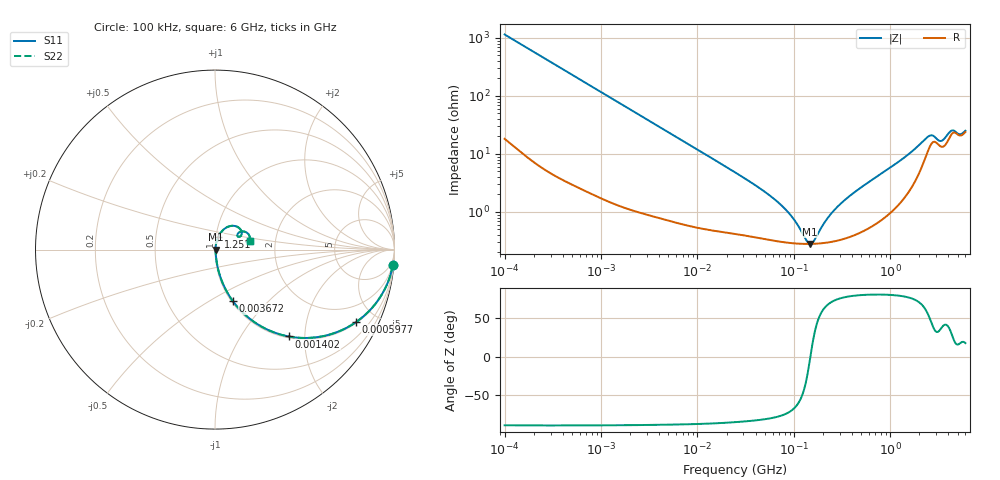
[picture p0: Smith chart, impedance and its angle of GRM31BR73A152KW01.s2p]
!Murata Part Number: GRM31BR73A152KW01
!These Parameters are Measured in Series Mode Connection
!Data Generated on Mar 30, 2021
!  o--ll--o
!Port1  Port2
!  o------o
!Operation Temp=25[degC], DC Bias Voltage=0[V]
!Freq. Start=100[kHz] Stop=6[GHz] 401[Steps]
# Hz S RI R 50
!Freq.(Hz) S11(Real) S11(Imag) S21(Real) S21(Imag) S12(Real) S12(Imag) S22(Real) S22(Imag)
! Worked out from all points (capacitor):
!   401 points, 100 kHz to 6 GHz, reference 50 ohm
!   read as one part in series: C = 1.38 nF near 105.7 kHz
!   lowest |Z| = 281 mohm at 146.4 MHz (marker M1)
!   series resonance near 148.2 MHz, so ESL is about 830 pH
!   S11 on the Smith chart (normalised r, x): 100 kHz: 1, -23; 597.7 kHz: 1.05, -3.88; 1.402 MHz: 1.03, -1.66; 3.672 MHz: 1.02, -0.64; 1.251 GHz: 1.03, +0.15; 6 GHz: 1.48, +0.15
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100000  0.9911 -0.0863  0.00889 0.0863  0.00889 0.0863  0.9911 -0.0863
292328  0.9373 -0.2364  0.0627 0.2364  0.0627 0.2364  0.9373 -0.2364
597654  0.7872 -0.4027  0.2128 0.4027  0.2128 0.4027  0.7872 -0.4027
631452  0.7686 -0.4151  0.2314 0.4151  0.2314 0.4151  0.7686 -0.4151
1402027  0.4107 -0.4839  0.5893 0.4839  0.5893 0.4839  0.4107 -0.4839
3671508  0.0989 -0.2861  0.9011 0.2861  0.9011 0.2861  0.0989 -0.2861
3987316  0.0861 -0.2675  0.9139 0.2675  0.9139 0.2675  0.0861 -0.2675
9100013  0.0218 -0.1266  0.9782 0.1266  0.9782 0.1266  0.0218 -0.1266
2.517799e7  0.00626 -0.0461  0.9937 0.0461  0.9937 0.0461  0.00626 -0.0461
7.565474e7  0.00316 -0.0121  0.9968 0.0121  0.9968 0.0121  0.00316 -0.0121
9.960701e7  0.00291 -0.00688  0.9971 0.00688  0.9971 0.00688  0.00291 -0.00688
1.463946e8  0.0028 -0.000201  0.9972 0.000201  0.9972 0.000201  0.0028 -0.000201
1.546735e8  0.0028 0.000733  0.9972 -0.000733  0.9972 -0.000733  0.0028 0.000733
2.211596e8  0.003 0.00699  0.997 -0.00699  0.997 -0.00699  0.003 0.00699
2.911787e8  0.00337 0.0124  0.9966 -0.0124  0.9966 -0.0124  0.00337 0.0124
9.76689e8  0.0122 0.0548  0.9878 -0.0548  0.9878 -0.0548  0.0122 0.0548
1.251021e9  0.019 0.072  0.981 -0.072  0.981 -0.072  0.019 0.072
2.488279e9  0.1245 0.127  0.8755 -0.127  0.8755 -0.127  0.1245 0.127
3.276068e9  0.1263 0.0738  0.8737 -0.0738  0.8737 -0.0738  0.1263 0.0738
4.313271e9  0.1883 0.0837  0.8117 -0.0837  0.8117 -0.0837  0.1883 0.0837
5.229069e9  0.1744 0.0439  0.8256 -0.0439  0.8256 -0.0439  0.1744 0.0439
6e9  0.1959 0.05  0.8041 -0.05  0.8041 -0.05  0.1959 0.05
